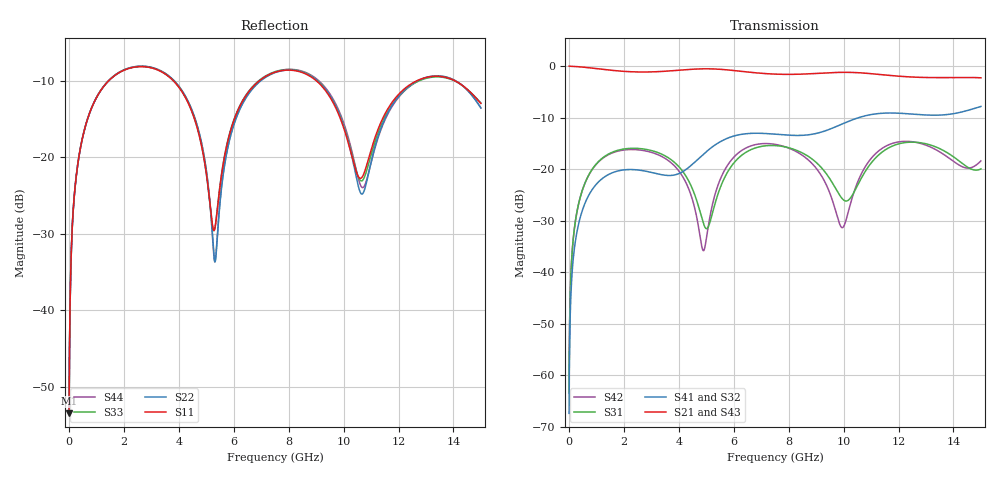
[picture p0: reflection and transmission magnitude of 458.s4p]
! Created with skrf 1.8.0 (http://scikit-rf.org).
# GHz S RI R 50.0
!freq ReS11 ImS11 ReS12 ImS12 ReS13 ImS13
! ReS14 ImS14
! ReS21 ImS21 ReS22 ImS22 ReS23 ImS23
! ReS24 ImS24
! ReS31 ImS31 ReS32 ImS32 ReS33 ImS33
! ReS34 ImS34
! ReS41 ImS41 ReS42 ImS42 ReS43 ImS43
! ReS44 ImS44
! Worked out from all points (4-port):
!   2499 points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, 5 MHz to 15 GHz, reference 50 ohm
!   strongest paths, dB at 5 MHz, 3.476 GHz, 7.19 GHz, 11.1 GHz, 15 GHz:
!     S21: 0.0, -1.0, -1.5, -1.5, -2.3
!     S43: 0.0, -1.0, -1.5, -1.5, -2.3
!     S41: -67.3, -21.2, -13.1, -9.3, -7.8
!     S32: -67.3, -21.1, -13.1, -9.3, -7.8
!     S31: -63.4, -17.3, -15.4, -18.2, -19.9
!     S42: -63.4, -17.8, -15.0, -17.3, -18.4
!   lowest |S11| = -53.4 dB at 5 MHz (marker M1), VSWR 1.00, Z = 50.2 + j0.129 ohm
!   |S11| at or under -10 dB: start of sweep to 1.445 GHz; 3.804 GHz to 6.93 GHz (3.126 GHz wide, 58.3 % of centre); 9.008 GHz to 12.67 GHz (3.658 GHz wide, 33.8 % of centre) (the widest 3 of 4)
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0.005  0.00169 0.00129  0.9983 -0.0033  8.53e-05 0.000672  -8.28e-05 -0.000421
       0.9983 -0.0033  0.00169 0.00129  -8.28e-05 -0.000421  8.52e-05 0.000672
       8.53e-05 0.000672  -8.28e-05 -0.000421  0.00169 0.00129  0.9983 -0.0033
       -8.28e-05 -0.000421  8.52e-05 0.000672  0.9983 -0.0033  0.00169 0.00129
0.3126303  0.0253 0.0844  0.9653 -0.2048  0.012 0.0397  -0.00974 -0.0246
           0.9653 -0.2048  0.0254 0.0844  -0.00974 -0.0246  0.0114 0.0398
           0.012 0.0397  -0.00974 -0.0246  0.0253 0.0844  0.9653 -0.2048
           -0.00974 -0.0246  0.0114 0.0398  0.9653 -0.2048  0.0254 0.0844
1.569404  0.2826 0.1736  0.5195 -0.7464  0.136 0.0526  -0.0922 -0.00122
          0.5195 -0.7464  0.2848 0.172  -0.0922 -0.00121  0.1295 0.0622
          0.136 0.0526  -0.0922 -0.00121  0.2825 0.1736  0.5194 -0.7464
          -0.0922 -0.00122  0.1295 0.0622  0.5194 -0.7464  0.2848 0.172
5.314714  0.0337 0.00725  -0.9357 -0.0533  -0.0145 0.0437  -0.00488 0.1714
          -0.9357 -0.0533  0.0207 -0.00136  -0.00469 0.1714  0.0273 0.0494
          -0.0145 0.0437  -0.00469 0.1714  0.0336 0.00823  -0.9357 -0.0528
          -0.00488 0.1714  0.0273 0.0494  -0.9357 -0.0528  0.0208 -0.000335
8.178408  0.3685 -0.0273  -0.0131 0.8319  0.1278 -0.0899  0.2052 -0.0563
          -0.0131 0.8319  0.37 -0.0263  0.205 -0.0566  0.1302 -0.0801
          0.1278 -0.0899  0.205 -0.0566  0.3722 -0.0285  -0.0131 0.8303
          0.2052 -0.0563  0.1302 -0.0801  -0.0131 0.8303  0.3739 -0.0253
10.97957  0.0907 0.059  0.8436 -0.0549  0.0327 0.1078  -0.0388 -0.3357
          0.8436 -0.0549  0.072 0.053  -0.039 -0.3364  0.0519 0.1138
          0.0327 0.1078  -0.039 -0.3364  0.0854 0.0525  0.8442 -0.0526
          -0.0388 -0.3357  0.0519 0.1138  0.8442 -0.0526  0.0763 0.0456
15  0.21 -0.0803  -0.5422 -0.5465  -0.1007 -0.00209  -0.2971 0.2768
    -0.5422 -0.5465  0.1898 -0.0896  -0.2958 0.2777  -0.1202 0.00534
    -0.1007 -0.00209  -0.2958 0.2777  0.2122 -0.0794  -0.5422 -0.5463
    -0.2971 0.2768  -0.1202 0.00534  -0.5422 -0.5463  0.1888 -0.0928
